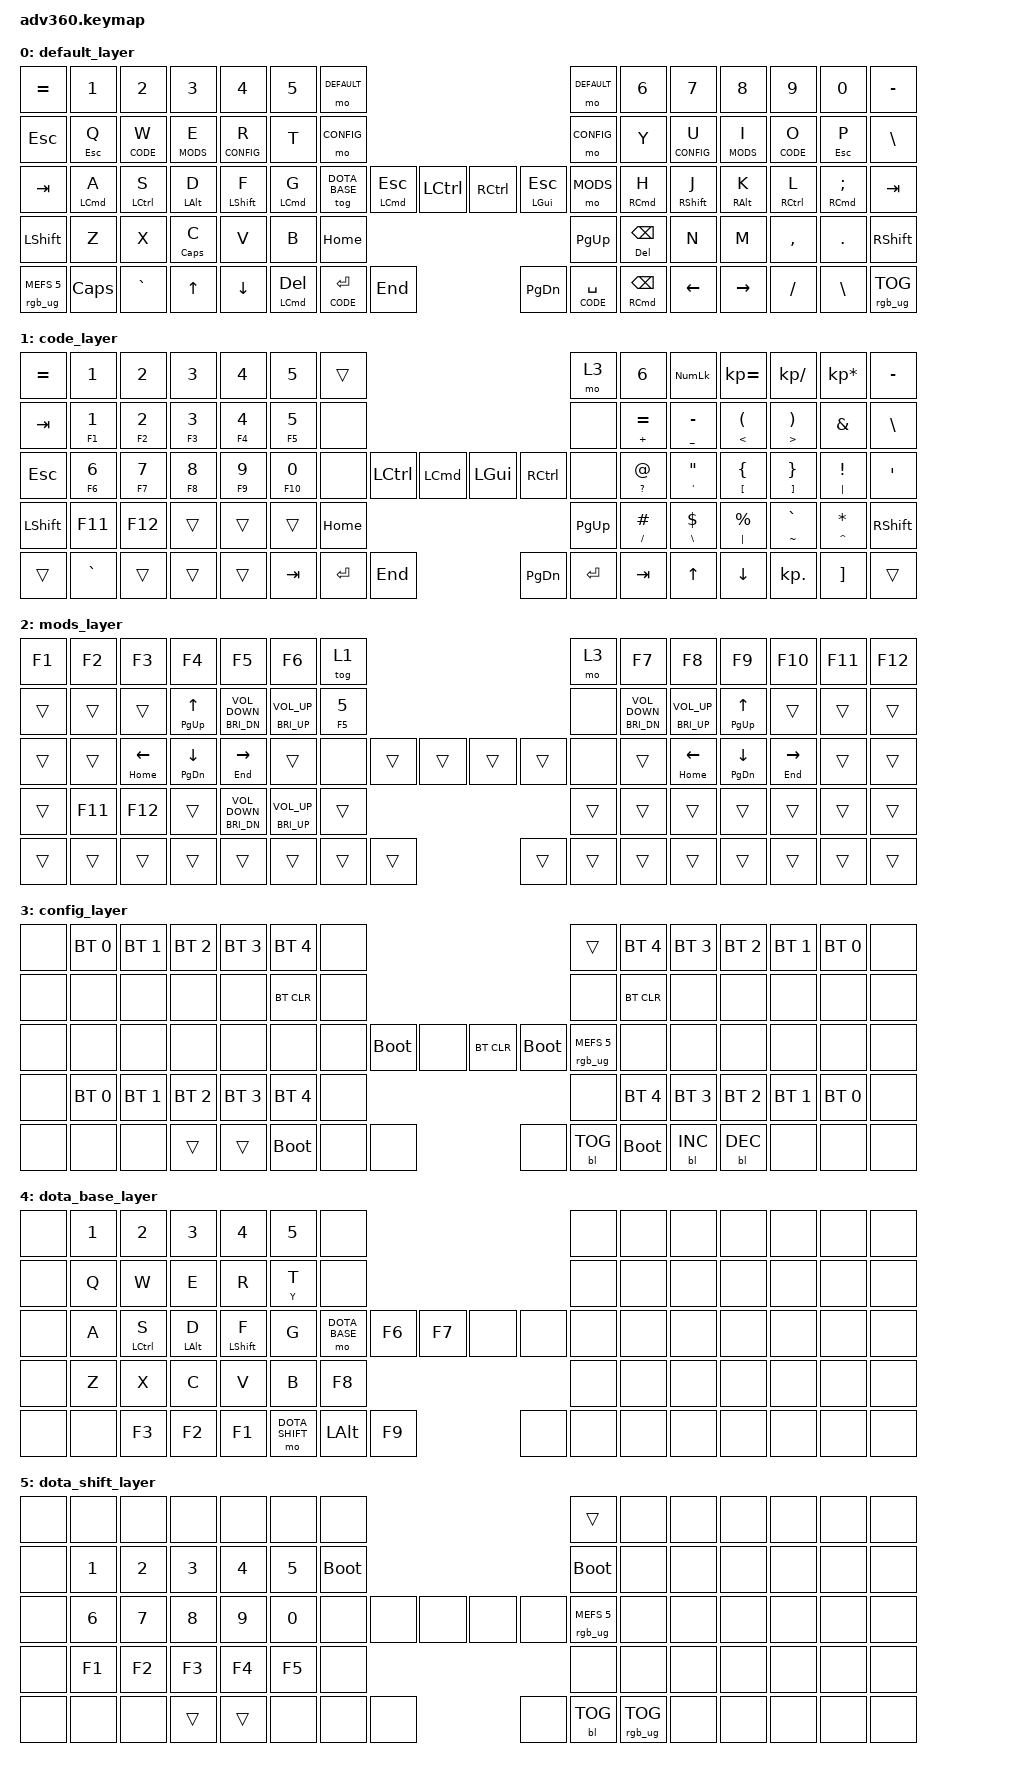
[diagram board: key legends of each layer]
#include <behaviors.dtsi>
#include <dt-bindings/zmk/keys.h>
#include <dt-bindings/zmk/bt.h>
#include <dt-bindings/zmk/rgb.h>
#include <dt-bindings/zmk/backlight.h>

#define DEFAULT        0
#define CODE           1
#define MODS           2
#define CONFIG         3
#define DOTA_BASE      4
#define DOTA_SHIFT     5

/ {
  keymap {
    compatible = "zmk,keymap";

    default_layer {
      bindings = <
        &kp EQUAL              &kp N1            &kp N2             &kp N3             &kp N4                     &kp N5                 &mo DEFAULT                                                                          &mo DEFAULT   &kp N6              &kp N7                    &kp N8             &kp N9            &kp N0           &kp MINUS
        &kp ESC                &rpi ESCAPE Q     &rpi_lyr CODE W    &rpi_lyr MODS E    &rpi_lyr_slow CONFIG R     &kp T                  &mo CONFIG                                                                           &mo CONFIG    &kp Y               &rpi_lyr_slow CONFIG U    &rpi_lyr MODS I    &rpi_lyr CODE O   &rpi ESCAPE P    &kp BSLH
        &kp TAB                &rpi LCMD A       &rpi LCTRL S       &rpi LALT D        &rpi LSHIFT F              &rpi LCMD G            &tog DOTA_BASE         &rpi LCMD ESC &kp LCTRL &kp RCTRL &rpi LGUI ESC               &mo MODS      &rpi RCMD H         &rpi RSHIFT J             &rpi RALT K        &rpi RCTRL L      &rpi RCMD SEMI   &kp TAB
        &kp LSHFT              &kp Z             &kp X              &rpi CAPSLOCK C    &kp V                      &kp B                                               &kp HOME &kp PG_UP                                                    &prm DEL BSPC       &kp N                     &kp M              &kp COMMA         &kp DOT          &kp RSHFT
        &rgb_ug RGB_MEFS_CMD 5 &kp CAPS          &kp GRAVE          &kp UP             &kp DOWN                                      &prm LCMD DEL &prm_lyr CODE RET &kp END &kp PG_DN &prm_lyr CODE SPACE &prm RCMD BSPC                                       &kp LEFT                  &kp RIGHT          &kp SLASH         &kp BSLH         &rgb_ug RGB_TOG
      >;
    };
    code_layer  {
      bindings = <
        &kp EQUAL         &kp N1            &kp N2            &kp N3             &kp N4              &kp N5             &trans                                                                               &mo 3 &kp N6                 &kp KP_NUM                &kp KP_EQUAL           &kp KP_DIVIDE            &kp KP_MULTIPLY         &kp MINUS
        &kp TAB           &rpi_slow F1 N1   &rpi_slow F2 N2   &rpi_slow F3 N3    &rpi_slow F4 N4     &rpi_slow F5 N5    &none                                                                                &none &rpi_fast PLUS EQUAL   &rpi_fast UNDER MINUS     &rpi_fast LT LPAR      &rpi_fast GT RPAR        &kp AMPS                &kp BSLH
        &kp ESC           &rpi_slow F6 N6   &rpi_slow F7 N7   &rpi_slow F8 N8    &rpi_slow F9 N9     &rpi_slow F10 N0   &none                   &kp LCTRL &kp LCMD &kp LGUI  &kp RCTRL                       &none &rpi_fast QMARK AT     &rpi_fast SQT DQT         &rpi_fast LBKT LBRC    &rpi_fast RBKT RBRC      &rpi_fast PIPE EXCL     &kp SQT
        &kp LSHFT         &kp F11           &kp F12           &trans             &trans              &trans                                         &kp HOME &kp PG_UP                                             &rpi_fast SLASH HASH   &rpi_fast BSLH DOLLAR     &rpi_fast PIPE PRCNT   &rpi_fast TILDE GRAVE    &rpi_fast CARET ASTRK   &kp RSHFT
        &trans            &kp GRAVE         &trans            &trans             &trans                                             &kp TAB  &kp RET &kp END  &kp PG_DN &kp RET &kp TAB                                                   &kp UP                    &kp DOWN               &kp KP_DOT               &kp RBKT                &trans
      >;
    };
    mods_layer  {
      bindings = <
        &kp F1 &kp F2     &kp F3                  &kp F4                     &kp F5                            &kp F6                                           &tog 1                                                          &mo 3 &kp F7                             &kp F8                             &kp F9                    &kp F10               &kp F11 &kp F12
        &trans &trans     &trans                  &rpi_slow PAGE_UP UP       &rpi_slow C_BRI_DN C_VOLUME_DOWN  &rpi_slow C_BRI_UP C_VOLUME_UP                   &rpi_slow F5 N5                                                 &none &rpi_slow C_BRI_DN C_VOLUME_DOWN   &rpi_slow C_BRI_UP  C_VOLUME_UP    &rpi_slow PAGE_UP UP      &trans                &trans  &trans
        &trans &trans     &rpi_slow HOME LEFT     &rpi_slow PAGE_DOWN DOWN   &rpi_slow END RIGHT               &trans                                           &none                  &trans &trans &trans &trans              &none &trans                             &rpi_slow HOME LEFT                &rpi_slow PAGE_DOWN DOWN  &rpi_slow END RIGHT   &trans  &trans
        &trans &kp F11    &kp F12                 &trans                     &rpi_fast C_BRI_DN C_VOLUME_DOWN  &rpi_fast C_BRI_UP C_VOLUME_UP                                                 &trans &trans                           &trans                             &trans                             &trans                    &trans                &trans  &trans
        &trans &trans     &trans                  &trans                     &trans                                                                                               &trans &trans &trans &trans &trans &trans                                              &trans                             &trans                    &trans                &trans  &trans
      >;
    };
    config_layer  {
      bindings = <
        &none &bt BT_SEL 0 &bt BT_SEL 1 &bt BT_SEL 2 &bt BT_SEL 3 &bt BT_SEL 4 &none                                                                           &trans                 &bt BT_SEL 4 &bt BT_SEL 3   &bt BT_SEL 2   &bt BT_SEL 1  &bt BT_SEL 0  &none
        &none &none        &none        &none        &none        &bt BT_CLR   &none                                                                           &none                  &bt BT_CLR   &none          &none          &none         &none         &none
        &none &none        &none        &none        &none        &none        &none                   &bootloader &none &bt BT_CLR &bootloader                &rgb_ug RGB_MEFS_CMD 5 &none        &none          &none          &none         &none         &none
        &none &bt BT_SEL 0 &bt BT_SEL 1 &bt BT_SEL 2 &bt BT_SEL 3 &bt BT_SEL 4                                      &none &none                                                       &bt BT_SEL 4 &bt BT_SEL 3   &bt BT_SEL 2   &bt BT_SEL 1  &bt BT_SEL 0  &none
        &none &none        &none        &trans        &trans                                         &bootloader &none &none &none      &bl BL_TOG &bootloader                                     &bl BL_INC     &bl BL_DEC     &none         &none         &none
      >;
    };

    dota_base_layer   {
      bindings = <
        &none  &kp N1        &kp N2         &kp N3        &kp N4           &kp N5         &none                                                         &none      &none        &none        &none        &none &none &none
        &none  &kp Q         &kp W          &kp E         &kp R            &rpi Y T       &none                                                         &none      &none        &none        &none        &none &none &none
        &none  &kp A         &rpi LCTRL S   &rpi LALT D   &rpi LSHIFT F    &kp G          &mo DOTA_BASE            &kp F6 &kp F7 &none &none            &none      &none        &none        &none        &none &none &none
        &none  &kp Z         &kp X          &kp C         &kp V            &kp B                                      &kp F8 &none                                 &none        &none        &none        &none &none &none
        &none  &none         &kp F3         &kp F2        &kp F1                                        &mo DOTA_SHIFT &kp LALT &kp F9 &none     &none &none                    &none        &none        &none &none &none
      >;
    };

    dota_shift_layer   {
      bindings = <
        &none &none         &none          &none           &none             &none         &none                                                                     &trans            &none    &none        &none       &none &none &none
        &none &kp N1        &kp N2         &kp N3          &kp N4            &kp N5        &bootloader                                                               &bootloader       &none    &none        &none       &none &none &none
        &none &kp N6        &kp N7         &kp N8          &kp N9            &kp N0        &none                   &none &none &none &none                      &rgb_ug RGB_MEFS_CMD 5 &none    &none        &none       &none &none &none
        &none &kp F1        &kp F2         &kp F3          &kp F4            &kp F5                                      &none &none                                                   &none    &none        &none       &none &none &none
        &none &none         &none          &trans          &trans                                         &none &none &none &none      &bl BL_TOG &rgb_ug RGB_TOG                               &none        &none       &none &none &none
      >;
    };
  };

  behaviors {
      #include "macros.dtsi"
      #include "version.dtsi"
      #ifndef VERSION_MACRO
      macro_ver: macro_ver {
        compatible = "zmk,behavior-macro";
        label = "macro_version";
        #binding-cells = <0>;
        bindings = <&kp RET>;
      };
      #endif

              rpi: rpi {
                    compatible = "zmk,behavior-hold-tap";
                    #binding-cells = <2>;
                    flavor = "tap-preferred";
                    tapping-term-ms = <250>;
                    quick-tap-ms = <250>;
                    require-prior-idle-ms = <0>;
                    bindings = <&kp>, <&kp>;
                };

                prm: prm {
                    compatible = "zmk,behavior-hold-tap";
                    #binding-cells = <2>;
                    flavor = "tap-preferred";
                    tapping-term-ms = <150>;
                    quick-tap-ms = <250>;
                    require-prior-idle-ms = <120>; 
                    bindings = <&kp>, <&kp>;
                };

                prm_lyr: prm_lyr {
                    compatible = "zmk,behavior-hold-tap";
                    #binding-cells = <2>;
                    flavor = "tap-preferred";
                    tapping-term-ms = <250>;
                    quick-tap-ms = <250>;
                    require-prior-idle-ms = <0>;
                    bindings = <&mo>, <&kp>;
                };

                rpi_fast: rpi_fast {
                    compatible = "zmk,behavior-hold-tap";
                    #binding-cells = <2>;
                    flavor = "tap-preferred";
                    tapping-term-ms = <150>;
                    quick-tap-ms = <250>;
                    require-prior-idle-ms = <0>;
                    bindings = <&kp>, <&kp>;
                };

                rpi_slow: rpi_slow {
                    compatible = "zmk,behavior-hold-tap";
                    #binding-cells = <2>;
                    flavor = "tap-preferred";
                    tapping-term-ms = <350>;
                    quick-tap-ms = <250>;
                    require-prior-idle-ms = <0>;
                    bindings = <&kp>, <&kp>;
                };

                rpi_lyr: rpi_lyr {
                    compatible = "zmk,behavior-hold-tap";
                    #binding-cells = <2>;
                    flavor = "tap-preferred";
                    tapping-term-ms = <250>;
                    quick-tap-ms = <250>;
                    require-prior-idle-ms = <0>;
                    bindings = <&mo>, <&kp>;
                };

                rpi_lyr_slow: rpi_lyr_slow {
                    compatible = "zmk,behavior-hold-tap";
                    #binding-cells = <2>;
                    flavor = "tap-preferred";
                    tapping-term-ms = <400>;
                    quick-tap-ms = <250>;
                    require-prior-idle-ms = <0>;
                    bindings = <&mo>, <&kp>;
                };
    };

};
